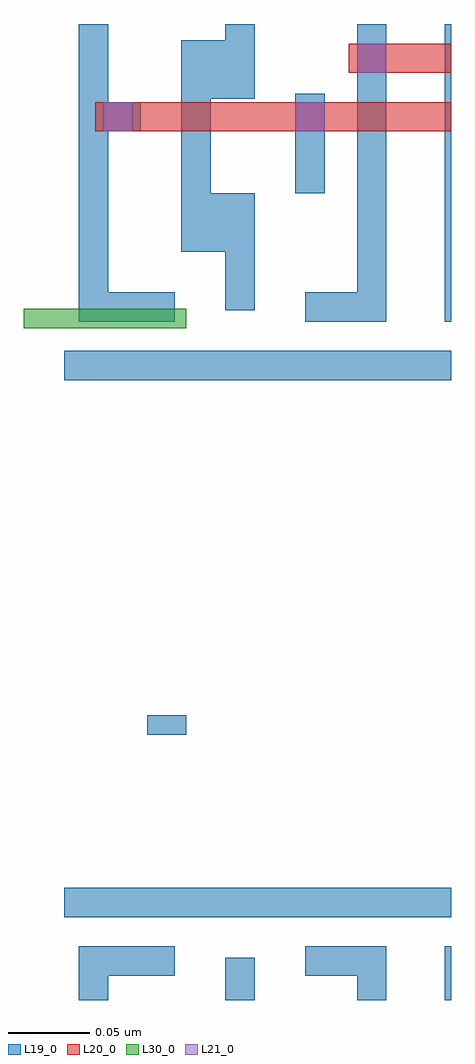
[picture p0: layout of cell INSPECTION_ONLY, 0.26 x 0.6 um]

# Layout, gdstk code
import gdstk
lib = gdstk.Library(unit=1e-6, precision=2.5e-10)
def R(c, l, rs):  # rectangles x0, y0, x1, y1
    for r in rs: c.add(gdstk.rectangle(r[:2], r[2:], *l))
def P(c, l, *ps):  # polygons
    for p in ps: c.add(gdstk.Polygon(p, *l))
L19_0 = (19, 0)
L20_0 = (20, 0)
L21_0 = (21, 0)
L30_0 = (30, 0)

inspection_only = lib.new_cell('INSPECTION_ONLY')
R(inspection_only, L19_0, [(8.099,0.21,8.117,0.236), (8.234,0.21,8.238,0.243), (8,0.261,8.238,0.279), (8.051,0.373,8.075,0.385), (8,0.591,8.238,0.609), (8.234,0.627,8.238,0.81), (8.142,0.706,8.16,0.767)])
P(inspection_only, L19_0, [(8.009,0.21),(8.009,0.243),(8.068,0.243),(8.068,0.225),(8.027,0.225),(8.027,0.21)],
  [(8.18,0.21),(8.18,0.225),(8.148,0.225),(8.148,0.243),(8.198,0.243),(8.198,0.21)],
  [(8.009,0.627),(8.009,0.81),(8.027,0.81),(8.027,0.762),(8.047,0.762),(8.047,0.744),(8.027,0.744),(8.027,0.645),(8.068,0.645),(8.068,0.627)],
  [(8.099,0.634),(8.099,0.67),(8.072,0.67),(8.072,0.8),(8.099,0.8),(8.099,0.81),(8.117,0.81),(8.117,0.764),(8.09,0.764),(8.09,0.706),(8.117,0.706),(8.117,0.634)],
  [(8.148,0.627),(8.148,0.645),(8.18,0.645),(8.18,0.81),(8.198,0.81),(8.198,0.627)])
R(inspection_only, L20_0, [(8.019,0.744,8.238,0.762), (8.175,0.78,8.238,0.798)])
R(inspection_only, L21_0, [(8.024,0.744,8.042,0.762), (8.142,0.744,8.16,0.762), (8.18,0.78,8.198,0.798)])
R(inspection_only, L30_0, [(7.975,0.623,8.075,0.635)])

lib.write_gds('INSPECTION_ONLY.gds')
